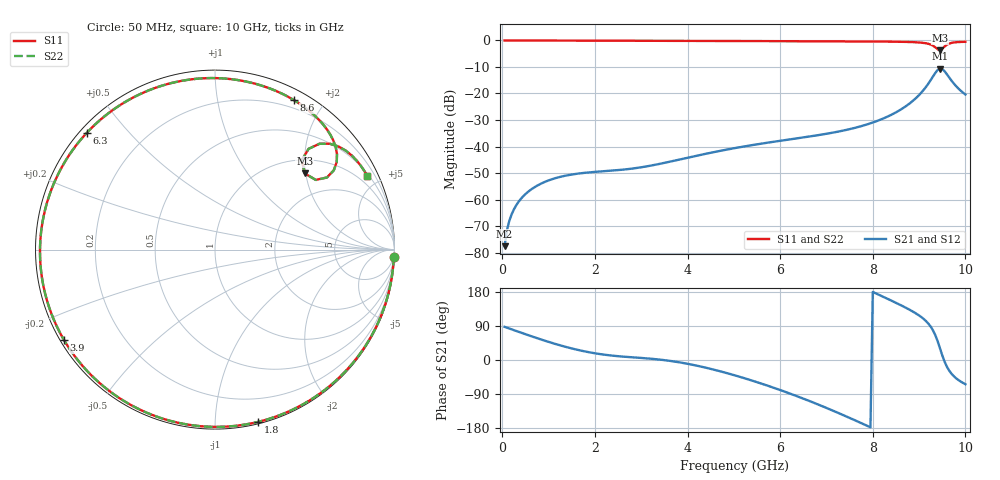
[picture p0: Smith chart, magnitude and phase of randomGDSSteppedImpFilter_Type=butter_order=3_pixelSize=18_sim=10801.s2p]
! freq	dB(S11)	phase(S11)	dB(S12)	phase(S12)
!  dB(S21)	phase(S21)	dB(S22)	phase(S22)
!S-par simulation data
#  GHz  S  DB  R 50
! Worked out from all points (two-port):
!   200 points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, 50 MHz to 10 GHz, reference 50 ohm
!   highest |S21| = -10.60 dB at 9.45 GHz (marker M1); lowest = -77.6 dB at 50 MHz (marker M2)
!   |S21| within 3 dB of the highest: 9.301 GHz to 9.634 GHz (333.7 MHz wide, 3.53 % of centre)
!   lowest |S11| = -3.7 dB at 9.45 GHz (marker M3), VSWR 4.81, Z = 66.3 + j98.7 ohm
!   |S11| at or under -10 dB: nowhere
!   |S22| runs from -3.7 to 0.0 dB; largest |S21 - S12| = 0
!   S11 on the Smith chart (normalised r, x): 50 MHz: 3, -50; 1.8 GHz: 0.01, -1.28; 3.9 GHz: 0.01, -0.28; 6.3 GHz: 0.02, +0.39; 8.6 GHz: 0.11, +1.65; 10 GHz: 0.58, +4.28
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0.05  -0.02 -2.3  -77.56 87.5  -77.56 87.5  -0.02 -2.3
0.1  -0.02 -4.5  -71.58 85.3  -71.58 85.3  -0.02 -4.5
0.2  -0.03 -8.9  -65.62 80.9  -65.62 80.9  -0.03 -8.9
0.5  -0.03 -22.0  -57.93 68.0  -57.93 68.0  -0.03 -22.1
1  -0.05 -43.6  -52.77 47.8  -52.77 47.8  -0.05 -43.6
1.75  -0.09 -74.1  -49.97 23.5  -49.97 23.5  -0.09 -74.1
1.8  -0.09 -76.0  -49.88 22.2  -49.88 22.2  -0.09 -76.1
2.55  -0.12 -104.0  -48.82 9.5  -48.82 9.5  -0.12 -104.0
3.4  -0.15 -133.0  -46.54 1.1  -46.54 1.1  -0.15 -133.0
3.9  -0.17 -149.0  -44.62 -7.7  -44.62 -7.7  -0.17 -149.1
5.05  -0.23 175.6  -40.50 -41.5  -40.50 -41.5  -0.23 175.6
6.3  -0.30 137.6  -37.08 -92.6  -37.08 -92.6  -0.30 137.5
6.7  -0.32 125.1  -36.05 -111.5  -36.05 -111.5  -0.32 125.0
7.55  -0.38 97.9  -33.25 -155.5  -33.25 -155.5  -0.38 97.8
8.35  -0.46 71.0  -28.47 159.7  -28.47 159.7  -0.46 71.0
8.6  -0.52 62.2  -26.12 145.0  -26.12 145.0  -0.52 62.2
9.2  -1.28 38.1  -16.30 96.1  -16.30 96.1  -1.28 38.0
9.35  -2.59 32.8  -12.27 65.7  -12.27 65.7  -2.59 32.8
9.45  -3.66 40.3  -10.60 31.4  -10.60 31.4  -3.67 40.3
9.55  -2.31 47.1  -11.61 -4.2  -11.61 -4.2  -2.31 47.1
9.65  -1.20 42.6  -13.98 -28.0  -13.98 -28.0  -1.20 42.6
10  -0.51 25.9  -20.40 -63.9  -20.40 -63.9  -0.51 25.8
